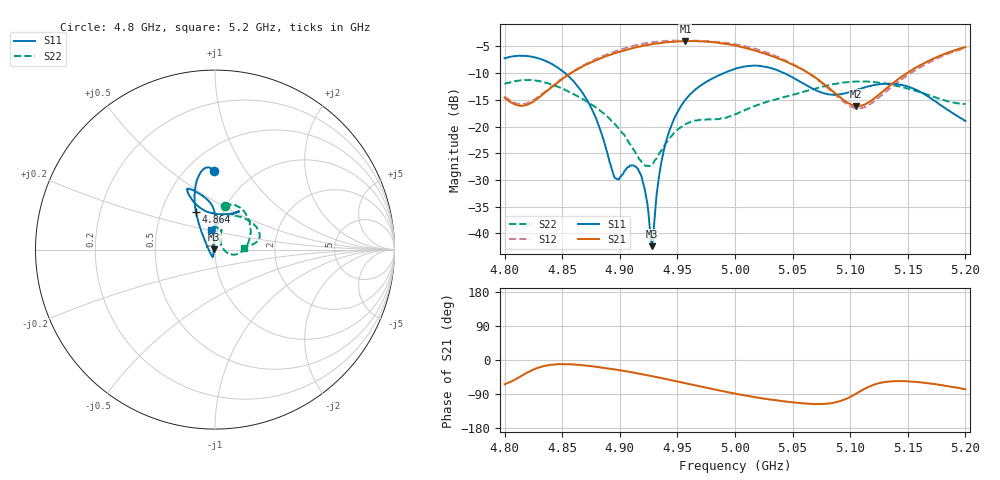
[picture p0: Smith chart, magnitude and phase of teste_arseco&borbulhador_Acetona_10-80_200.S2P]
! Network Analyzer HP8722D
! Hewlett-Packard
! Data name: Linha & Wilkinson
! Saver's name: Rodrigo Anjos
! Comments: Teste da utilização de aquisição
! continua pelo VNA HP8722D
! Time and date: 25/4/2025 16:56
!  Frequency  S11  S21  S12  S22
# HZ  S  MA R 50
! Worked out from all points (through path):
!   401 points, 4.8 GHz to 5.2 GHz, reference 50 ohm
!   highest |S21| = -3.99 dB at 4.957 GHz (marker M1); lowest = -16.2 dB at 5.105 GHz (marker M2)
!   lowest |S11| = -42.4 dB at 4.928 GHz (marker M3), VSWR 1.02, Z = 49.3 + j0.098 ohm
!   |S11| at or under -10 dB: 4.853 GHz to 4.99 GHz (137.7 MHz wide, 2.8 % of centre); 5.043 GHz to end of sweep
!   |S22| runs from -27.4 to -11.3 dB; largest |S21 - S12| = 1.2
!   S11 on the Smith chart (normalised r, x): 4.8 GHz: 0.67, +0.72; 4.864 GHz: 0.75, +0.33; 5.2 GHz: 0.94, +0.21
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4.8e9  0.4355 91.0  0.186 -64.1  0.1912 69.5  0.2495 77.1
4.821e9  0.4556 97.5  0.1623 -31.1  0.1677 99.6  0.2726 61.1
4.844e9  0.3686 107.2  0.2485 -11.5  0.2522 119.2  0.2396 36.1
4.864e9  0.2345 116.9  0.3475 -12.7  0.3506 121.1  0.1904 12.5
4.867e9  0.2118 118.5  0.3619 -13.6  0.366 120.8  0.1833 9.2
4.88e9  0.1143 128.5  0.4209 -18.3  0.4309 118.5  0.1491 -4.7
4.896e9  0.03288 -170.2  0.4863 -25.1  0.5043 113.4  0.105 -15.2
4.91e9  0.04319 -108.0  0.5379 -32.3  0.5627 107.2  0.06565 -12.7
4.917e9  0.03742 -104.7  0.5606 -36.2  0.5873 103.6  0.04914 -0.8
4.922e9  0.02482 -109.0  0.5746 -39.1  0.6018 100.9  0.04304 16.3
4.926e9  0.01146 -135.5  0.5859 -41.6  0.611 98.6  0.04264 32.4
4.928e9  0.007595 172.5  0.5909 -42.6  0.6164 97.2  0.04474 40.4
4.934e9  0.03369 99.9  0.6011 -46.5  0.6267 93.5  0.05534 57.1
4.943e9  0.09092 91.3  0.6175 -52.1  0.6353 87.7  0.07706 68.1
4.957e9  0.1784 89.8  0.6315 -61.2  0.6393 78.6  0.1048 70.8
5e9  0.3464 109.3  0.5723 -88.7  0.5929 50.8  0.1299 88.2
5.029e9  0.3576 115.3  0.4686 -103.6  0.4866 34.4  0.1719 85.9
5.067e9  0.2278 105.6  0.3013 -115.8  0.2987 23.6  0.2224 57.5
5.105e9  0.2194 66.0  0.1555 -89.0  0.1482 53.9  0.2635 25.7
5.134e9  0.2519 57.9  0.239 -56.6  0.2251 88.7  0.2482 12.5
5.168e9  0.1901 69.8  0.4117 -61.4  0.3952 85.5  0.1967 7.0
5.2e9  0.1129 100.9  0.5531 -77.2  0.5427 70.3  0.1619 3.7
